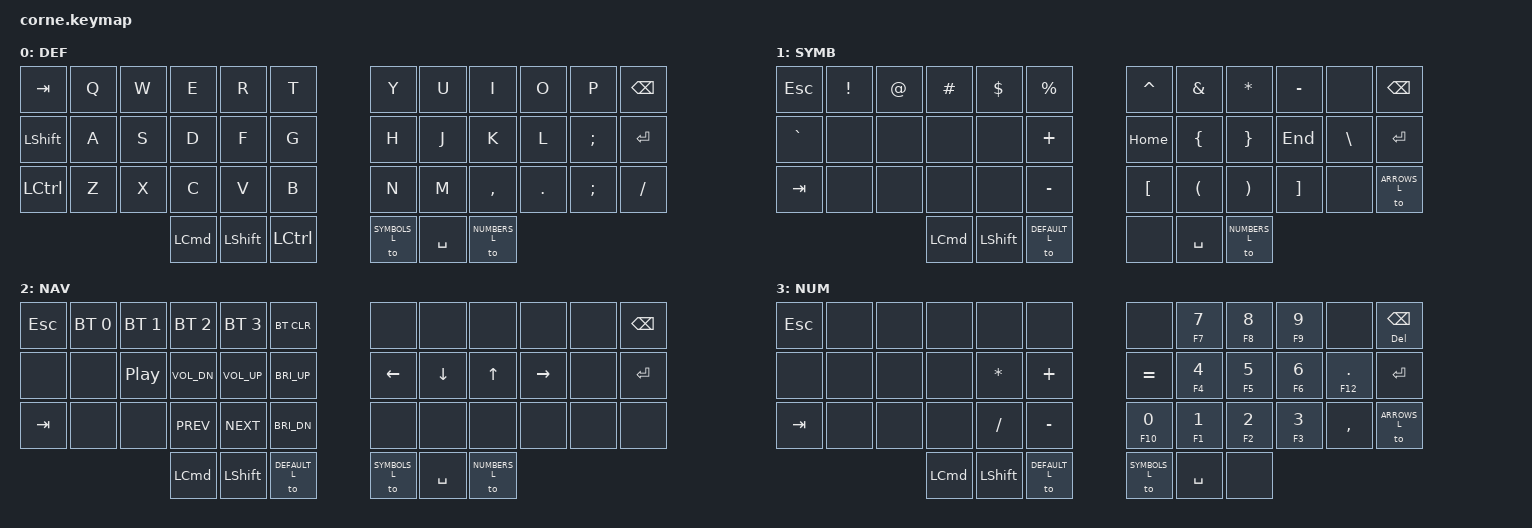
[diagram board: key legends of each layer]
/*
 * Copyright (c) 2020 The ZMK Contributors
 *
 * SPDX-License-Identifier: MIT
 */

#include <behaviors.dtsi>
#include <dt-bindings/zmk/bt.h>
#include <dt-bindings/zmk/keys.h>

#define DEFAULT_L 0
#define SYMBOLS_L 1
#define ARROWS_L  2
#define NUMBERS_L 3

/ {
    behaviors {
        hm: homerow_mods {
            compatible = "zmk,behavior-hold-tap";
            label = "HOMEROW_MODS";
            #binding-cells = <2>;
            tapping-term-ms = <300>;
            quick-tap-ms = <200>;
            flavor = "tap-preferred";
            bindings = <&kp>, <&kp>;
        };
    };

    keymap {
        compatible = "zmk,keymap";

        default_layer {
            label = "DEF";
            bindings = <
&kp TAB         &kp Q  &kp W  &kp E     &kp R      &kp T        &kp Y          &kp U      &kp I          &kp O    &kp P          &kp BSPC
&kp LEFT_SHIFT  &kp A  &kp S  &kp D     &kp F      &kp G        &kp H          &kp J      &kp K          &kp L    &kp SEMICOLON  &kp RET
&kp LCTRL       &kp Z  &kp X  &kp C     &kp V      &kp B        &kp N          &kp M      &kp COMMA      &kp DOT  &kp SEMI       &kp FSLH
                              &kp LCMD  &kp LSHFT  &kp LCTRL    &to SYMBOLS_L  &kp SPACE  &to NUMBERS_L
            >;
        };

        symbols_layer {
            label = "SYMB";
            bindings = <
&kp ESC    &kp EXCL  &kp AT  &kp HASH  &kp DLLR   &kp PRCNT        &kp CARET  &kp AMPS   &kp STAR       &kp MINUS  &none     &kp BSPC
&kp GRAVE  &none     &none   &none     &none      &kp PLUS         &kp HOME   &kp LBRC   &kp RBRC       &kp END    &kp BSLH  &kp RET
&kp TAB    &none     &none   &none     &none      &kp MINUS        &kp LBKT   &kp LPAR   &kp RPAR       &kp RBKT   &none     &to ARROWS_L
                             &kp LCMD  &kp LSHFT  &to DEFAULT_L    &none      &kp SPACE  &to NUMBERS_L
            >;
        };

        arrows_layer {
            label = "NAV";
            bindings = <
&kp ESC  &bt BT_SEL 0  &bt BT_SEL 1  &bt BT_SEL 2  &bt BT_SEL 3  &bt BT_CLR       &none          &none      &none          &none      &none  &kp BSPC
&none    &none         &kp C_PP      &kp C_VOL_DN  &kp C_VOL_UP  &kp C_BRI_UP     &kp LEFT       &kp DOWN   &kp UP         &kp RIGHT  &none  &kp RET
&kp TAB  &none         &none         &kp C_PREV    &kp C_NEXT    &kp C_BRI_DN     &none          &none      &none          &none      &none  &none
                                     &kp LCMD      &kp LSHFT     &to DEFAULT_L    &to SYMBOLS_L  &kp SPACE  &to NUMBERS_L
            >;
        };

        numbers_layer {
            label = "NUM";
            bindings = <
&kp ESC  &none  &none  &none     &none      &none            &none          &hm F7 N7  &hm F8 N8  &hm F9 N9  &none        &hm DEL BSPC
&none    &none  &none  &none     &kp STAR   &kp PLUS         &kp EQUAL      &hm F4 N4  &hm F5 N5  &hm F6 N6  &hm F12 DOT  &kp RET
&kp TAB  &none  &none  &none     &kp FSLH   &kp MINUS        &hm F10 N0     &hm F1 N1  &hm F2 N2  &hm F3 N3  &kp COMMA    &to ARROWS_L
                       &kp LCMD  &kp LSHFT  &to DEFAULT_L    &to SYMBOLS_L  &kp SPACE  &none
            >;
        };
    };
};
